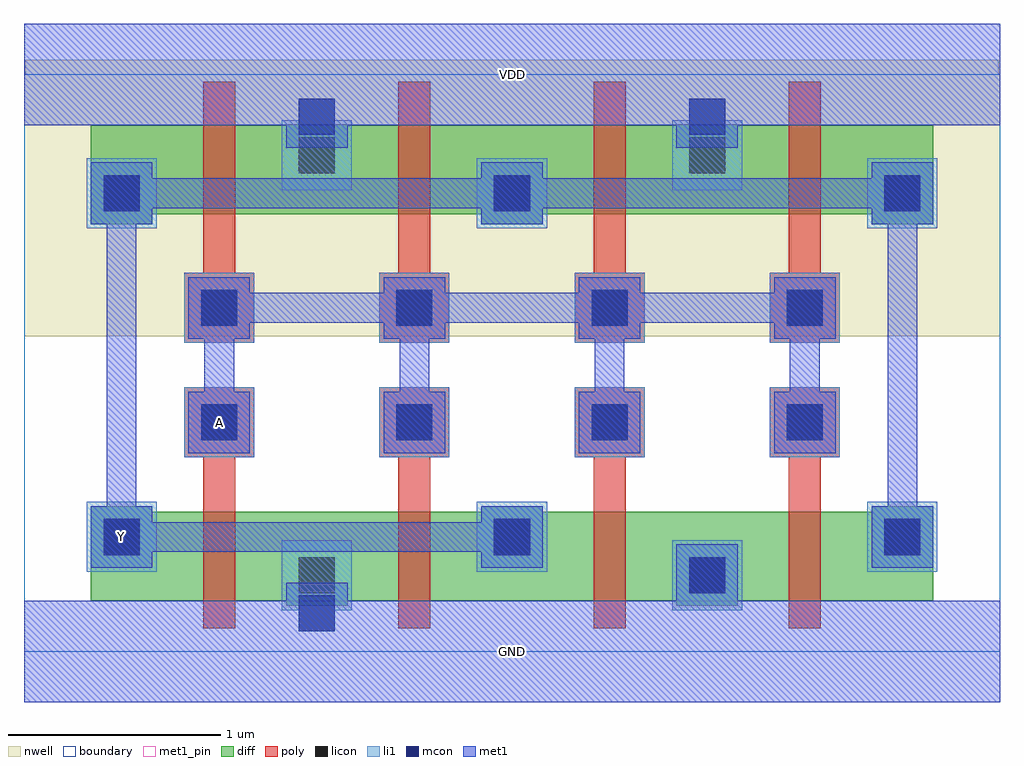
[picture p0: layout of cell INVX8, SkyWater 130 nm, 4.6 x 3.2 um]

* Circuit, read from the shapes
.subckt INVX8 A GND VDD Y
XM1 GND A Y VSUBS sky130_fd_pr__nfet_01v8 w=0.42 l=0.15 m=4
XM2 VDD A Y n1 sky130_fd_pr__pfet_01v8 w=0.42 l=0.15 m=4
.ends

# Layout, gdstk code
import gdstk
lib = gdstk.Library(unit=1e-6, precision=1e-09)
def R(c, l, rs):  # rectangles x0, y0, x1, y1
    for r in rs: c.add(gdstk.rectangle(r[:2], r[2:], *l))
def A(c, l, x, y, w, h, nx, ny, dx, dy):  # array of equal rectangles
    R(c, l, [(x+i*dx, y+j*dy, x+i*dx+w, y+j*dy+h) for i in range(nx) for j in range(ny)])
def P(c, l, *ps):  # polygons
    for p in ps: c.add(gdstk.Polygon(p, *l))
nwell = (64, 20)
diff = (65, 20)
poly = (66, 20)
licon = (66, 44)
li1 = (67, 20)
mcon = (67, 44)
met1_pin = (68, 16)
met1 = (68, 20)
boundary = (235, 4)

invx8 = lib.new_cell('INVX8')
P(invx8, nwell, [(0,1.485),(0,2.72),(0.005,2.72),(0.005,2.79),(4.595,2.79),(4.595,2.72),(4.6,2.72),(4.6,1.485)])
P(invx8, diff, [(1.235,0.215),(1.235,0.24),(0.315,0.24),(0.315,0.685),(0.605,0.685),(0.605,0.66),(2.155,0.66),(2.155,0.685),(2.445,0.685),(2.445,0.66),(3.995,0.66),(3.995,0.685),(4.285,0.685),(4.285,0.24),(3.365,0.24),(3.365,0.215),(3.075,0.215),(3.075,0.24),(1.525,0.24),(1.525,0.215)],
  [(0.315,2.015),(0.315,2.48),(1.235,2.48),(1.235,2.485),(1.525,2.485),(1.525,2.48),(3.075,2.48),(3.075,2.485),(3.365,2.485),(3.365,2.48),(4.285,2.48),(4.285,2.015),(3.995,2.015),(3.995,2.06),(2.445,2.06),(2.445,2.015),(2.155,2.015),(2.155,2.06),(0.605,2.06),(0.605,2.015)])
P(invx8, poly, [(0.845,0.11),(0.845,0.915),(0.755,0.915),(0.755,1.245),(1.085,1.245),(1.085,0.915),(0.995,0.915),(0.995,0.11)],
  [(1.765,0.11),(1.765,0.915),(1.675,0.915),(1.675,1.245),(2.005,1.245),(2.005,0.915),(1.915,0.915),(1.915,0.11)],
  [(2.685,0.11),(2.685,0.915),(2.595,0.915),(2.595,1.245),(2.925,1.245),(2.925,0.915),(2.835,0.915),(2.835,0.11)],
  [(3.605,0.11),(3.605,0.915),(3.515,0.915),(3.515,1.245),(3.845,1.245),(3.845,0.915),(3.755,0.915),(3.755,0.11)],
  [(0.755,1.455),(0.755,1.785),(0.845,1.785),(0.845,2.685),(0.995,2.685),(0.995,1.785),(1.085,1.785),(1.085,1.455)],
  [(1.675,1.455),(1.675,1.785),(1.765,1.785),(1.765,2.685),(1.915,2.685),(1.915,1.785),(2.005,1.785),(2.005,1.455)],
  [(2.595,1.455),(2.595,1.785),(2.685,1.785),(2.685,2.685),(2.835,2.685),(2.835,1.785),(2.925,1.785),(2.925,1.455)],
  [(3.515,1.455),(3.515,1.785),(3.605,1.785),(3.605,2.685),(3.755,2.685),(3.755,1.785),(3.845,1.785),(3.845,1.455)])
A(invx8, licon, 0.375, 0.455, 0.17, 0.17, 3, 2, 1.84, 1.62)
A(invx8, licon, 0.835, 0.995, 0.17, 0.17, 4, 2, 0.92, 0.54)
R(invx8, licon, [(1.295,0.275,1.465,0.445), (3.135,0.275,3.305,0.445), (1.295,2.255,1.465,2.425), (3.135,2.255,3.305,2.425)])
A(invx8, li1, 0.295, 0.375, 0.33, 0.33, 3, 2, 1.84, 1.62)
A(invx8, li1, 0.755, 0.915, 0.33, 0.33, 4, 2, 0.92, 0.54)
R(invx8, li1, [(3.055,0.195,3.385,0.525)])
P(invx8, li1, [(1.295,0.095),(1.295,0.195),(1.215,0.195),(1.215,0.525),(1.545,0.525),(1.545,0.195),(1.465,0.195),(1.465,0.095)],
  [(1.215,2.175),(1.215,2.505),(1.295,2.505),(1.295,2.605),(1.465,2.605),(1.465,2.505),(1.545,2.505),(1.545,2.175)],
  [(3.055,2.175),(3.055,2.505),(3.135,2.505),(3.135,2.605),(3.305,2.605),(3.305,2.505),(3.385,2.505),(3.385,2.175)])
A(invx8, mcon, 0.375, 0.455, 0.17, 0.17, 3, 2, 1.84, 1.62)
A(invx8, mcon, 0.835, 0.995, 0.17, 0.17, 4, 2, 0.92, 0.54)
R(invx8, mcon, [(1.295,0.095,1.465,0.265), (3.135,0.275,3.305,0.445), (1.295,2.435,1.465,2.605), (3.135,2.435,3.305,2.605)])
R(invx8, met1_pin, [(0,-0.24,4.6,0.24), (0,2.48,4.6,2.96)])
P(invx8, met1_pin, [(0.315,0.395),(0.315,0.685),(0.39,0.685),(0.39,2.015),(0.315,2.015),(0.315,2.305),(0.605,2.305),(0.605,2.23),(2.155,2.23),(2.155,2.305),(2.445,2.305),(2.445,2.23),(3.995,2.23),(3.995,2.305),(4.285,2.305),(4.285,2.015),(4.21,2.015),(4.21,0.685),(4.285,0.685),(4.285,0.395),(3.995,0.395),(3.995,0.685),(4.07,0.685),(4.07,2.015),(3.995,2.015),(3.995,2.09),(2.445,2.09),(2.445,2.015),(2.155,2.015),(2.155,2.09),(0.605,2.09),(0.605,2.015),(0.53,2.015),(0.53,0.685),(0.605,0.685),(0.605,0.61),(2.155,0.61),(2.155,0.685),(2.445,0.685),(2.445,0.395),(2.155,0.395),(2.155,0.47),(0.605,0.47),(0.605,0.395)],
  [(0.775,0.935),(0.775,1.225),(0.85,1.225),(0.85,1.475),(0.775,1.475),(0.775,1.765),(1.065,1.765),(1.065,1.69),(1.695,1.69),(1.695,1.765),(1.985,1.765),(1.985,1.69),(2.615,1.69),(2.615,1.765),(2.905,1.765),(2.905,1.69),(3.535,1.69),(3.535,1.765),(3.825,1.765),(3.825,1.475),(3.75,1.475),(3.75,1.225),(3.825,1.225),(3.825,0.935),(3.535,0.935),(3.535,1.225),(3.61,1.225),(3.61,1.475),(3.535,1.475),(3.535,1.55),(2.905,1.55),(2.905,1.475),(2.83,1.475),(2.83,1.225),(2.905,1.225),(2.905,0.935),(2.615,0.935),(2.615,1.225),(2.69,1.225),(2.69,1.475),(2.615,1.475),(2.615,1.55),(1.985,1.55),(1.985,1.475),(1.91,1.475),(1.91,1.225),(1.985,1.225),(1.985,0.935),(1.695,0.935),(1.695,1.225),(1.77,1.225),(1.77,1.475),(1.695,1.475),(1.695,1.55),(1.065,1.55),(1.065,1.475),(0.99,1.475),(0.99,1.225),(1.065,1.225),(1.065,0.935)])
P(invx8, met1, [(0,-0.24),(0,0.24),(1.235,0.24),(1.235,0.325),(1.525,0.325),(1.525,0.24),(3.075,0.24),(3.075,0.505),(3.365,0.505),(3.365,0.24),(4.6,0.24),(4.6,-0.24)],
  [(0.775,0.935),(0.775,1.225),(0.85,1.225),(0.85,1.475),(0.775,1.475),(0.775,1.765),(1.065,1.765),(1.065,1.69),(1.695,1.69),(1.695,1.765),(1.985,1.765),(1.985,1.69),(2.615,1.69),(2.615,1.765),(2.905,1.765),(2.905,1.69),(3.535,1.69),(3.535,1.765),(3.825,1.765),(3.825,1.475),(3.75,1.475),(3.75,1.225),(3.825,1.225),(3.825,0.935),(3.535,0.935),(3.535,1.225),(3.61,1.225),(3.61,1.475),(3.535,1.475),(3.535,1.55),(2.905,1.55),(2.905,1.475),(2.83,1.475),(2.83,1.225),(2.905,1.225),(2.905,0.935),(2.615,0.935),(2.615,1.225),(2.69,1.225),(2.69,1.475),(2.615,1.475),(2.615,1.55),(1.985,1.55),(1.985,1.475),(1.91,1.475),(1.91,1.225),(1.985,1.225),(1.985,0.935),(1.695,0.935),(1.695,1.225),(1.77,1.225),(1.77,1.475),(1.695,1.475),(1.695,1.55),(1.065,1.55),(1.065,1.475),(0.99,1.475),(0.99,1.225),(1.065,1.225),(1.065,0.935)],
  [(0.315,0.395),(0.315,0.685),(0.39,0.685),(0.39,2.015),(0.315,2.015),(0.315,2.305),(0.605,2.305),(0.605,2.23),(2.155,2.23),(2.155,2.305),(2.445,2.305),(2.445,2.23),(3.995,2.23),(3.995,2.305),(4.285,2.305),(4.285,2.015),(4.21,2.015),(4.21,0.685),(4.285,0.685),(4.285,0.395),(3.995,0.395),(3.995,0.685),(4.07,0.685),(4.07,2.015),(3.995,2.015),(3.995,2.09),(2.445,2.09),(2.445,2.015),(2.155,2.015),(2.155,2.09),(0.605,2.09),(0.605,2.015),(0.53,2.015),(0.53,0.685),(0.605,0.685),(0.605,0.61),(2.155,0.61),(2.155,0.685),(2.445,0.685),(2.445,0.395),(2.155,0.395),(2.155,0.47),(0.605,0.47),(0.605,0.395)],
  [(1.235,2.375),(1.235,2.48),(0,2.48),(0,2.96),(4.6,2.96),(4.6,2.48),(3.365,2.48),(3.365,2.375),(3.075,2.375),(3.075,2.48),(1.525,2.48),(1.525,2.375)])
R(invx8, boundary, [(0,0,4.6,2.72)])
invx8.add(gdstk.Label('Y', (0.46,0.54), layer=68, texttype=5))
invx8.add(gdstk.Label('A', (0.92,1.08), layer=68, texttype=5))
invx8.add(gdstk.Label('GND', (2.3,0), layer=68, texttype=5))
invx8.add(gdstk.Label('VDD', (2.3,2.72), layer=68, texttype=5))

lib.write_gds('INVX8.gds')
